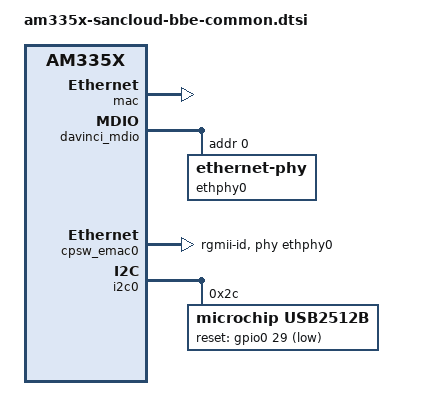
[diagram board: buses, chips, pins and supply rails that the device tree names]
// SPDX-License-Identifier: GPL-2.0-only
/*
 * Copyright (C) 2012 Texas Instruments Incorporated - https://www.ti.com/
 */

&am33xx_pinmux {
	cpsw_default: cpsw_default {
		pinctrl-single,pins = <
			/* Slave 1 */
			AM33XX_PADCONF(AM335X_PIN_MII1_TX_EN, PIN_OUTPUT_PULLDOWN, MUX_MODE2)	/* mii1_txen.rgmii1_tctl */
			AM33XX_PADCONF(AM335X_PIN_MII1_RX_DV, PIN_INPUT_PULLDOWN, MUX_MODE2)	/* mii1_rxdv.rgmii1_rctl */
			AM33XX_PADCONF(AM335X_PIN_MII1_TXD3, PIN_OUTPUT_PULLDOWN, MUX_MODE2)	/* mii1_txd3.rgmii1_td3 */
			AM33XX_PADCONF(AM335X_PIN_MII1_TXD2, PIN_OUTPUT_PULLDOWN, MUX_MODE2)	/* mii1_txd2.rgmii1_td2 */
			AM33XX_PADCONF(AM335X_PIN_MII1_TXD1, PIN_OUTPUT_PULLDOWN, MUX_MODE2)	/* mii1_txd1.rgmii1_td1 */
			AM33XX_PADCONF(AM335X_PIN_MII1_TXD0, PIN_OUTPUT_PULLDOWN, MUX_MODE2)	/* mii1_txd0.rgmii1_td0 */
			AM33XX_PADCONF(AM335X_PIN_MII1_TX_CLK, PIN_OUTPUT_PULLDOWN, MUX_MODE2)	/* mii1_txclk.rgmii1_tclk */
			AM33XX_PADCONF(AM335X_PIN_MII1_RX_CLK, PIN_INPUT_PULLDOWN, MUX_MODE2)	/* mii1_rxclk.rgmii1_rclk */
			AM33XX_PADCONF(AM335X_PIN_MII1_RXD3, PIN_INPUT_PULLDOWN, MUX_MODE2)	/* mii1_rxd3.rgmii1_rd3 */
			AM33XX_PADCONF(AM335X_PIN_MII1_RXD2, PIN_INPUT_PULLDOWN, MUX_MODE2)	/* mii1_rxd2.rgmii1_rd2 */
			AM33XX_PADCONF(AM335X_PIN_MII1_RXD1, PIN_INPUT_PULLDOWN, MUX_MODE2)	/* mii1_rxd1.rgmii1_rd1 */
			AM33XX_PADCONF(AM335X_PIN_MII1_RXD0, PIN_INPUT_PULLDOWN, MUX_MODE2)	/* mii1_rxd0.rgmii1_rd0 */
		>;
	};

	cpsw_sleep: cpsw_sleep {
		pinctrl-single,pins = <
			/* Slave 1 reset value */
			AM33XX_PADCONF(AM335X_PIN_MII1_TX_EN, PIN_INPUT_PULLDOWN, MUX_MODE7)
			AM33XX_PADCONF(AM335X_PIN_MII1_RX_DV, PIN_INPUT_PULLDOWN, MUX_MODE7)
			AM33XX_PADCONF(AM335X_PIN_MII1_TXD3, PIN_INPUT_PULLDOWN, MUX_MODE7)
			AM33XX_PADCONF(AM335X_PIN_MII1_TXD2, PIN_INPUT_PULLDOWN, MUX_MODE7)
			AM33XX_PADCONF(AM335X_PIN_MII1_TXD1, PIN_INPUT_PULLDOWN, MUX_MODE7)
			AM33XX_PADCONF(AM335X_PIN_MII1_TXD0, PIN_INPUT_PULLDOWN, MUX_MODE7)
			AM33XX_PADCONF(AM335X_PIN_MII1_TX_CLK, PIN_INPUT_PULLDOWN, MUX_MODE7)
			AM33XX_PADCONF(AM335X_PIN_MII1_RX_CLK, PIN_INPUT_PULLDOWN, MUX_MODE7)
			AM33XX_PADCONF(AM335X_PIN_MII1_RXD3, PIN_INPUT_PULLDOWN, MUX_MODE7)
			AM33XX_PADCONF(AM335X_PIN_MII1_RXD2, PIN_INPUT_PULLDOWN, MUX_MODE7)
			AM33XX_PADCONF(AM335X_PIN_MII1_RXD1, PIN_INPUT_PULLDOWN, MUX_MODE7)
			AM33XX_PADCONF(AM335X_PIN_MII1_RXD0, PIN_INPUT_PULLDOWN, MUX_MODE7)
		>;
	};

	davinci_mdio_default: davinci_mdio_default {
		pinctrl-single,pins = <
			/* MDIO */
			AM33XX_PADCONF(AM335X_PIN_MDIO, PIN_INPUT_PULLUP | SLEWCTRL_FAST, MUX_MODE0)
			AM33XX_PADCONF(AM335X_PIN_MDC, PIN_OUTPUT_PULLUP, MUX_MODE0)
		>;
	};

	davinci_mdio_sleep: davinci_mdio_sleep {
		pinctrl-single,pins = <
			/* MDIO reset value */
			AM33XX_PADCONF(AM335X_PIN_MDIO, PIN_INPUT_PULLDOWN, MUX_MODE7)
			AM33XX_PADCONF(AM335X_PIN_MDC, PIN_INPUT_PULLDOWN, MUX_MODE7)
		>;
	};

	usb_hub_ctrl: usb_hub_ctrl {
		pinctrl-single,pins = <
			AM33XX_PADCONF(AM335X_PIN_RMII1_REF_CLK, PIN_OUTPUT_PULLUP, MUX_MODE7)     /* rmii1_refclk.gpio0_29 */
		>;
	};
};

&mac {
	pinctrl-names = "default", "sleep";
	pinctrl-0 = <&cpsw_default>;
	pinctrl-1 = <&cpsw_sleep>;
	status = "okay";
};

&davinci_mdio {
	pinctrl-names = "default", "sleep";
	pinctrl-0 = <&davinci_mdio_default>;
	pinctrl-1 = <&davinci_mdio_sleep>;
	status = "okay";

	ethphy0: ethernet-phy@0 {
		reg = <0>;
	};
};

&cpsw_emac0 {
	phy-handle = <&ethphy0>;
	phy-mode = "rgmii-id";
};

&i2c0 {
	usb2512b: usb-hub@2c {
		compatible = "microchip,usb2512b";
		reg = <0x2c>;
		reset-gpios = <&gpio0 29 GPIO_ACTIVE_LOW>;
		/* wifi on port 4 */
	};
};
